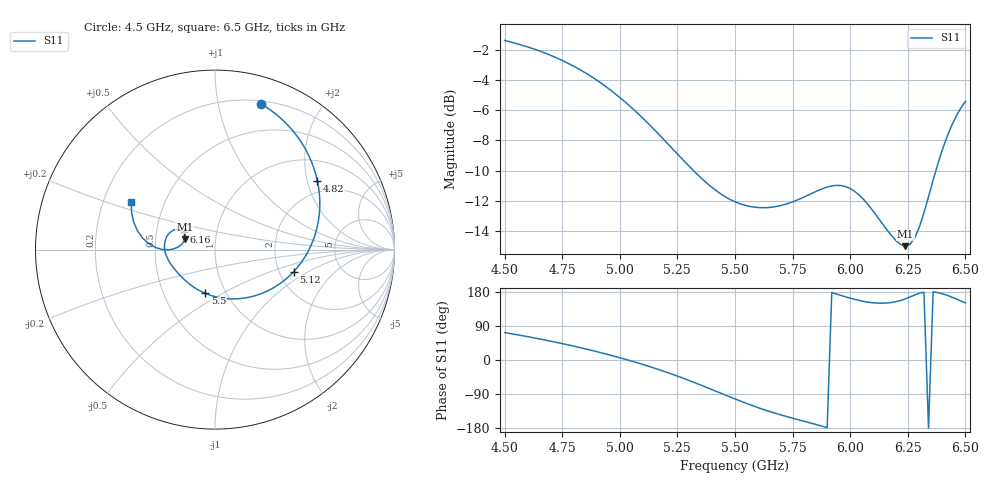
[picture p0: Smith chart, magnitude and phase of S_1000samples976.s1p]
! TOUCHSTONE file generated by CST MICROWAVE STUDIO
! Date and time: Sat Oct 29 23:34:14 2022
! Project name: L.cst
! Parameters = {Di=1.27; Epsilon_r=1.56; InnerDiameter=1.27; Length=2; Lf=10; Lg=60; OuterConductorThickness=0.2921; OuterDiameter=3.6; Wf=3; Wp=41.2; de=1.5; df=6.8; g=0.8; gx=2.50896; gy=2.41404; h=2.34; hf=1.524; px=13.0398; py=9.65388; w=9.7; wx=10.5309; wy=7.23985}
! Header version: 2018
! Port assignment regex: !\s*Touchstone port\s*([0-9]+)\s*=\s*(CST MWS port|CST DS port)\s*([0-9]+|Zmin|Zmax)\s*\(\"(.*)\"\)(\s*mode\s*([0-9]+))?.*
! Touchstone port assignment:
! Touchstone port 1 = CST MWS port 1 ("")
# GHz S DB R 50
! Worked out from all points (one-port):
!   101 points, 4.5 GHz to 6.5 GHz, reference 50 ohm
!   lowest |S11| = -15.0 dB at 6.24 GHz (marker M1), VSWR 1.43, Z = 35.4 + j4.13 ohm
!   |S11| at or under -10 dB: 5.32 GHz to 6.372 GHz (1.052 GHz wide, 18 % of centre)
!   S11 on the Smith chart (normalised r, x): 4.5 GHz: 0.23, +1.34; 4.82 GHz: 1.60, +2.31; 5.12 GHz: 2.40, -0.74; 5.5 GHz: 0.80, -0.42; 6.16 GHz: 0.69, +0.14; 6.5 GHz: 0.32, +0.24
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4.5  -1.39 72.4
4.62  -1.92 59.3
4.76  -2.79 42.0
4.82  -3.26 33.8
4.9  -4.01 22.1
5  -5.16 6.0
5.12  -6.83 -15.6
5.2  -8.09 -31.7
5.26  -9.06 -44.7
5.32  -10.00 -58.6
5.38  -10.85 -73.1
5.5  -12.06 -102.7
5.62  -12.45 -129.8
5.76  -12.00 -155.2
5.9  -11.08 -178.6
6  -11.18 163.3
6.08  -12.29 152.4
6.16  -13.92 150.5
6.2  -14.64 154.1
6.24  -14.99 161.5
6.26  -14.86 166.4
6.3  -13.73 176.0
6.34  -11.72 -179.7
6.38  -9.58 178.0
6.4  -8.62 174.9
6.44  -7.03 166.3
6.48  -5.87 156.0
6.5  -5.42 150.5
